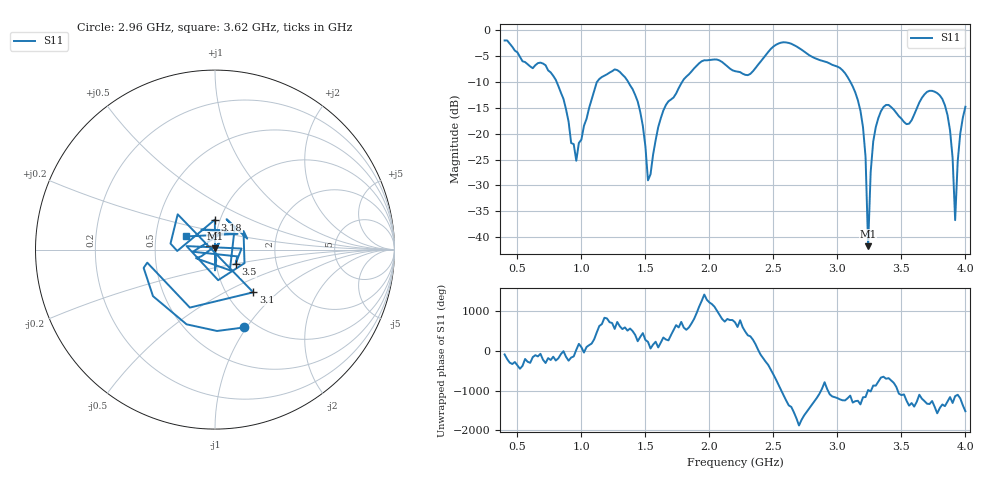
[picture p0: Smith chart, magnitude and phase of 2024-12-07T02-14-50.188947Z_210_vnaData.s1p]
!Created with skrf (http://scikit-rf.org).
# Hz S RI R 50.0
!freq ReS11 ImS11
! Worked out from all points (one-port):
!   181 points, 400 MHz to 4 GHz, reference 50 ohm
!   lowest |S11| = -41.7 dB at 3.24 GHz (marker M1), VSWR 1.02, Z = 49.9 + j0.816 ohm
!   |S11| at or under -10 dB: 806.8 MHz to 1.121 GHz (314.6 MHz wide, 32.6 % of centre); 1.366 GHz to 1.787 GHz (421.5 MHz wide, 26.7 % of centre); 3.102 GHz to end of sweep
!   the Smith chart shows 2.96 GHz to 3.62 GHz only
!   S11 on the Smith chart (normalised r, x): 2.96 GHz: 0.88, -0.97; 3.1 GHz: 1.33, -0.70; 3.18 GHz: 0.94, +0.32; 3.5 GHz: 1.24, -0.20; 3.62 GHz: 0.72, +0.11
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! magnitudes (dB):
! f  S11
! 400 MHz  -2.0
! 860 MHz  -13.3
! 960 MHz  -25.2
! 1.12 GHz  -10.0
! 1.3 GHz  -8.0
! 1.44 GHz  -13.8
! 1.52 GHz  -29.0
! 1.64 GHz  -15.5
! 1.76 GHz  -11.2
! 1.96 GHz  -5.8
! 2.2 GHz  -7.9
! 2.66 GHz  -2.9
! 2.96 GHz  -6.7
! 3.1 GHz  -9.9
! 3.18 GHz  -15.6
! 3.22 GHz  -24.5
! 3.24 GHz  -41.7
! 3.26 GHz  -27.4
! 3.3 GHz  -18.7
! 3.38 GHz  -14.4
! 3.5 GHz  -17.1
! 3.56 GHz  -18.1
! 3.62 GHz  -15.1
! 3.84 GHz  -14.5
! 3.9 GHz  -24.6
! 3.92 GHz  -36.7
! 3.94 GHz  -25.3
! 4 GHz  -14.8
